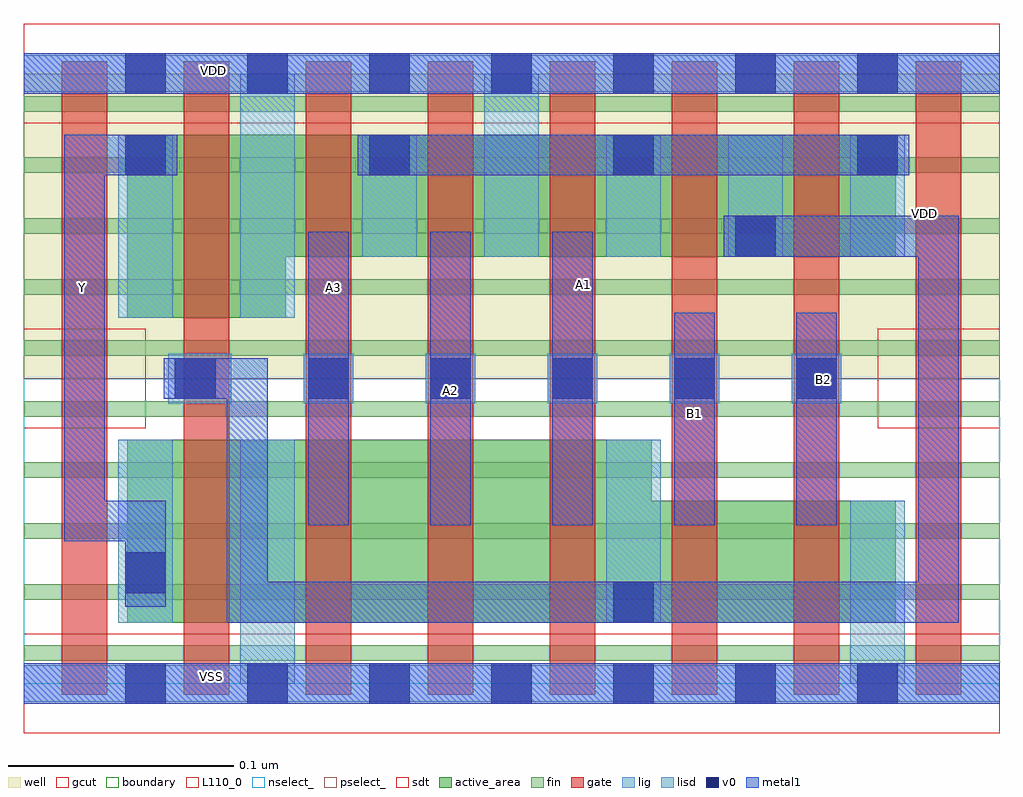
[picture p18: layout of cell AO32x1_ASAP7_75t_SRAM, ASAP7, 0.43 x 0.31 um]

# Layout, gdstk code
import gdstk
lib = gdstk.Library(unit=1e-6, precision=2.5e-10)
def R(c, l, rs):  # rectangles x0, y0, x1, y1
    for r in rs: c.add(gdstk.rectangle(r[:2], r[2:], *l))
def A(c, l, x, y, w, h, nx, ny, dx, dy):  # array of equal rectangles
    R(c, l, [(x+i*dx, y+j*dy, x+i*dx+w, y+j*dy+h) for i in range(nx) for j in range(ny)])
def P(c, l, *ps):  # polygons
    for p in ps: c.add(gdstk.Polygon(p, *l))
well = (1, 0)
fin = (2, 0)
gate = (7, 0)
gcut = (10, 0)
active_area = (11, 0)
nselect_ = (12, 0)
pselect_ = (13, 0)
lig = (16, 0)
lisd = (17, 0)
v0 = (18, 0)
metal1 = (19, 0)
sdt = (88, 0)
boundary = (100, 0)
L110_0 = (110, 0)

ao32x1_asap7_75t_sram = lib.new_cell('AO32x1_ASAP7_75t_SRAM')
R(ao32x1_asap7_75t_sram, well, [(0,0.135,0.432,0.27)])
A(ao32x1_asap7_75t_sram, fin, 0, 0.01, 0.432, 0.007, 1, 10, 0, 0.027)
A(ao32x1_asap7_75t_sram, gate, 0.017, -0.005, 0.02, 0.2805, 8, 1, 0.054, 0)
R(ao32x1_asap7_75t_sram, gcut, [(0,-0.022,0.432,0.022), (0,0.113,0.054,0.157), (0.378,0.113,0.432,0.157), (0,0.248,0.432,0.292)])
P(ao32x1_asap7_75t_sram, active_area, [(0.386,0.081),(0.278,0.081),(0.278,0.108),(0.046,0.108),(0.046,0.027),(0.386,0.027)],
  [(0.386,0.243),(0.046,0.243),(0.046,0.162),(0.116,0.162),(0.116,0.189),(0.386,0.189)])
R(ao32x1_asap7_75t_sram, nselect_, [(0,0,0.432,0.135)])
R(ao32x1_asap7_75t_sram, pselect_, [(0,0.135,0.432,0.27)])
A(ao32x1_asap7_75t_sram, lig, 0.124, 0.124, 0.022, 0.022, 5, 1, 0.054, 0)
R(ao32x1_asap7_75t_sram, lig, [(0,-0.008,0.432,0.008), (0.064,0.124,0.092,0.146), (0,0.262,0.432,0.278)])
A(ao32x1_asap7_75t_sram, lisd, 0.258, 0.189, 0.024, 0.054, 3, 1, 0.054, 0)
R(ao32x1_asap7_75t_sram, lisd, [(0.096,0,0.12,0.108), (0.366,0,0.39,0.081), (0.042,0.027,0.066,0.108), (0.258,0.027,0.282,0.108), (0.042,0.162,0.066,0.243), (0.096,0.162,0.12,0.27), (0.15,0.189,0.174,0.243), (0.204,0.189,0.228,0.27)])
A(ao32x1_asap7_75t_sram, v0, 0.045, -0.009, 0.018, 0.018, 7, 2, 0.054, 0.27)
A(ao32x1_asap7_75t_sram, v0, 0.126, 0.126, 0.018, 0.018, 5, 1, 0.054, 0)
A(ao32x1_asap7_75t_sram, v0, 0.045, 0.225, 0.018, 0.018, 4, 1, 0.108, 0)
R(ao32x1_asap7_75t_sram, v0, [(0.261,0.027,0.279,0.045), (0.045,0.04,0.063,0.058), (0.067,0.126,0.085,0.144), (0.315,0.189,0.333,0.207)])
A(ao32x1_asap7_75t_sram, metal1, 0.126, 0.07, 0.018, 0.13, 3, 1, 0.054, 0)
R(ao32x1_asap7_75t_sram, metal1, [(0,-0.009,0.432,0.009), (0.288,0.07,0.306,0.164), (0.342,0.07,0.36,0.164), (0.148,0.225,0.392,0.243), (0,0.261,0.432,0.279)])
P(ao32x1_asap7_75t_sram, metal1, [(0.414,0.207),(0.31,0.207),(0.31,0.189),(0.396,0.189),(0.396,0.045),(0.108,0.045),(0.108,0.144),(0.062,0.144),(0.062,0.126),(0.09,0.126),(0.09,0.027),(0.414,0.027)],
  [(0.068,0.243),(0.018,0.243),(0.018,0.063),(0.045,0.063),(0.045,0.034),(0.063,0.034),(0.063,0.081),(0.036,0.081),(0.036,0.225),(0.068,0.225)])
A(ao32x1_asap7_75t_sram, sdt, 0.15, 0.189, 0.024, 0.054, 5, 1, 0.054, 0)
R(ao32x1_asap7_75t_sram, sdt, [(0.042,0.027,0.066,0.108), (0.096,0.027,0.12,0.108), (0.258,0.027,0.282,0.108), (0.366,0.027,0.39,0.081), (0.042,0.162,0.066,0.243), (0.096,0.162,0.12,0.243)])
R(ao32x1_asap7_75t_sram, boundary, [(0,0,0.432,0.27)])
R(ao32x1_asap7_75t_sram, L110_0, [(0,0,0.432,0.27)])
ao32x1_asap7_75t_sram.add(gdstk.Label('B2', (0.354,0.1345), layer=19, texttype=251))
ao32x1_asap7_75t_sram.add(gdstk.Label('B1', (0.297,0.1195), layer=19, texttype=251))
ao32x1_asap7_75t_sram.add(gdstk.Label('A3', (0.137,0.1755), layer=19, texttype=251))
ao32x1_asap7_75t_sram.add(gdstk.Label('A2', (0.189,0.1295), layer=19, texttype=251))
ao32x1_asap7_75t_sram.add(gdstk.Label('A1', (0.248,0.1765), layer=19, texttype=251))
ao32x1_asap7_75t_sram.add(gdstk.Label('VSS', (0.083,0.003), layer=19, texttype=251))
ao32x1_asap7_75t_sram.add(gdstk.Label('VDD', (0.084,0.2715), layer=19, texttype=251))
ao32x1_asap7_75t_sram.add(gdstk.Label('Y', (0.026,0.1755), layer=19, texttype=251))
ao32x1_asap7_75t_sram.add(gdstk.Label('VDD', (0.399,0.208), layer=1, texttype=251))
ao32x1_asap7_75t_sram.add(gdstk.Label('VSS', (0.291,-0.033), layer=3, texttype=251))

lib.write_gds('AO32x1_ASAP7_75t_SRAM.gds')
